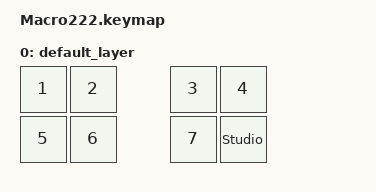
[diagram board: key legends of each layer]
/ {
    keymap {
        compatible = "zmk,keymap";

        default_layer { // Layer 0
            // -------------------------------------
            // |     1     |     2     |     5     |     6     |
            // |     3     |     4     |     7     |studio_unlock|
            bindings = <
                &kp N1    &kp N2    &kp N5    &kp N6
                &kp N3    &kp N4    &kp N7    &studio_unlock
            >;
        };
    };
 };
